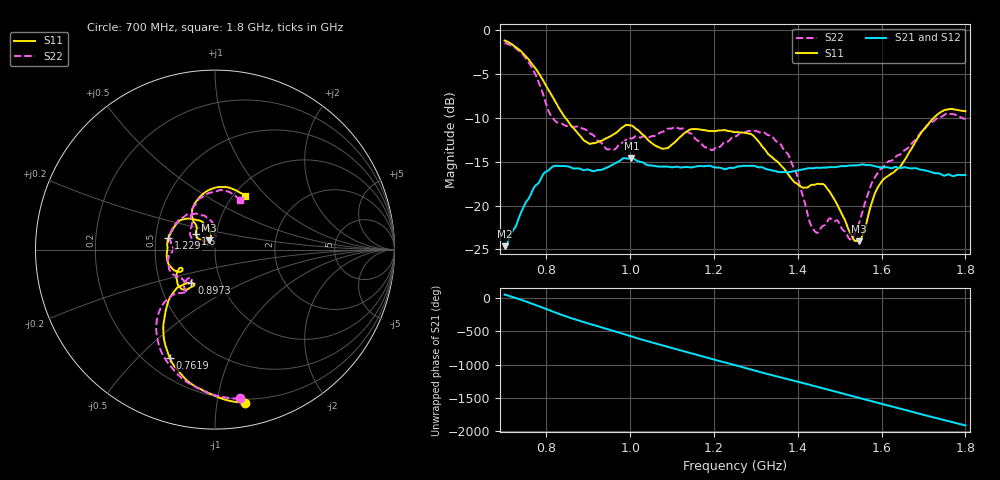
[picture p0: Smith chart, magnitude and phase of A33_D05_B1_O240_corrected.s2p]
! Created with skrf 1.9.0 (http://scikit-rf.org).
# Hz S RI R 50.0
!freq ReS11 ImS11 ReS21 ImS21 ReS12 ImS12 ReS22 ImS22
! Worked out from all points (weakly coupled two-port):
!   1601 points, 700 MHz to 1.8 GHz, reference 50 ohm
!   highest |S21| = -14.58 dB at 1.002 GHz (marker M1); lowest = -24.6 dB at 700 MHz (marker M2)
!   lowest |S11| = -24.1 dB at 1.546 GHz (marker M3), VSWR 1.13, Z = 46.4 + j4.86 ohm
!   |S11| at or under -10 dB: 844.7 MHz to 1.725 GHz (880.3 MHz wide, 68.5 % of centre)
!   |S22| runs from -23.9 to -1.5 dB; largest |S21 - S12| = 0.0035
!   S11 on the Smith chart (normalised r, x): 700 MHz: 0.17, -1.20; 761.9 MHz: 0.30, -0.63; 897.3 MHz: 0.72, -0.28; 1.229 GHz: 0.58, +0.08; 1.6 GHz: 0.80, +0.14; 1.8 GHz: 1.12, +0.77
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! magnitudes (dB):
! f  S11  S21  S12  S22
! 700 MHz  -1.2  -24.6  -24.4  -1.5
! 761.9 MHz  -3.7  -18.8  -18.7  -4.0
! 816.9 MHz  -7.8  -15.5  -15.6  -10.2
! 883.6 MHz  -12.3  -15.9  -15.8  -11.2
! 897.3 MHz  -12.8  -15.9  -16.0  -11.5
! 946.8 MHz  -12.3  -15.6  -15.6  -13.6
! 1.002 GHz  -10.9  -14.6  -14.7  -12.4
! 1.067 GHz  -13.3  -15.6  -15.5  -11.8
! 1.145 GHz  -11.3  -15.7  -15.7  -11.8
! 1.194 GHz  -11.5  -15.5  -15.5  -13.7
! 1.229 GHz  -11.5  -15.9  -15.8  -12.7
! 1.25 GHz  -11.7  -15.7  -15.6  -12.1
! 1.357 GHz  -15.3  -16.2  -16.1  -12.9
! 1.395 GHz  -17.4  -16.1  -16.0  -16.1
! 1.434 GHz  -17.6  -15.8  -15.7  -22.4
! 1.467 GHz  -17.9  -15.7  -15.7  -22.1
! 1.526 GHz  -23.2  -15.4  -15.4  -23.9
! 1.546 GHz  -24.1  -15.4  -15.4  -22.1
! 1.6 GHz  -17.3  -15.7  -15.7  -15.7
! 1.617 GHz  -16.6  -15.7  -15.7  -15.0
! 1.733 GHz  -9.7  -16.3  -16.4  -10.1
! 1.8 GHz  -9.3  -16.5  -16.5  -10.2
